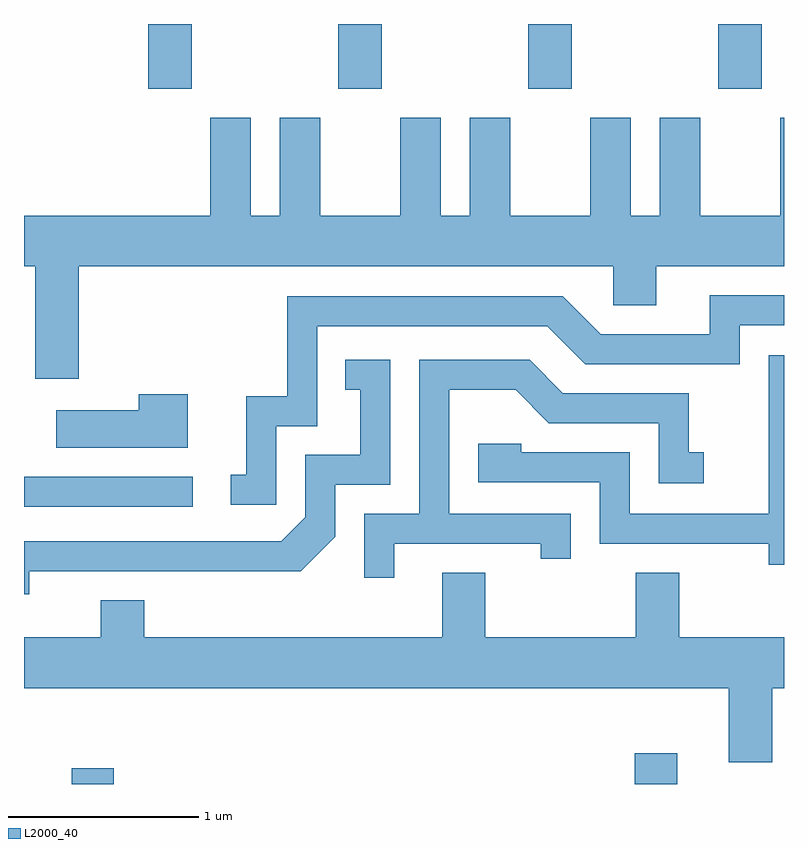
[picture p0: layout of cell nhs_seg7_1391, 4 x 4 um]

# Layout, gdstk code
import gdstk
lib = gdstk.Library(unit=1e-6, precision=1e-09)
def R(c, l, rs):  # rectangles x0, y0, x1, y1
    for r in rs: c.add(gdstk.rectangle(r[:2], r[2:], *l))
def A(c, l, x, y, w, h, nx, ny, dx, dy):  # array of equal rectangles
    R(c, l, [(x+i*dx, y+j*dy, x+i*dx+w, y+j*dy+h) for i in range(nx) for j in range(ny)])
def P(c, l, *ps):  # polygons
    for p in ps: c.add(gdstk.Polygon(p, *l))
L2000_40 = (2000, 40)

nhs_seg7_1391 = lib.new_cell('nhs_seg7_1391')
A(nhs_seg7_1391, L2000_40, 228.266, 1721.911, 0.228, 0.341, 4, 1, 1, 0)
R(nhs_seg7_1391, L2000_40, [(227.861,1718.252,228.084,1718.334), (230.826,1718.252,231.049,1718.414), (227.611,1719.711,228.498,1719.869)])
P(nhs_seg7_1391, L2000_40, [(230.711,1720.771),(230.939,1720.771),(230.939,1720.976),(231.611,1720.976),(231.611,1721.759),(231.591,1721.759),(231.591,1721.244),(231.169,1721.244),(231.169,1721.759),(230.956,1721.759),(230.956,1721.244),(230.804,1721.244),(230.804,1721.759),(230.591,1721.759),(230.591,1721.244),(230.169,1721.244),(230.169,1721.759),(229.956,1721.759),(229.956,1721.244),(229.804,1721.244),(229.804,1721.759),(229.591,1721.759),(229.591,1721.244),(229.169,1721.244),(229.169,1721.759),(228.956,1721.759),(228.956,1721.244),(228.804,1721.244),(228.804,1721.759),(228.591,1721.759),(228.591,1721.244),(227.611,1721.244),(227.611,1720.976),(227.671,1720.976),(227.671,1720.386),(227.899,1720.386),(227.899,1720.976),(230.711,1720.976)],
  [(228.939,1720.136),(229.154,1720.136),(229.154,1720.661),(230.364,1720.661),(230.564,1720.461),(231.379,1720.461),(231.379,1720.666),(231.611,1720.666),(231.611,1720.824),(231.221,1720.824),(231.221,1720.619),(230.647,1720.619),(230.447,1720.819),(228.996,1720.819),(228.996,1720.294),(228.781,1720.294),(228.781,1719.879),(228.698,1719.879),(228.698,1719.721),(228.939,1719.721)],
  [(231.611,1720.509),(231.531,1720.509),(231.531,1719.674),(230.799,1719.674),(230.799,1719.999),(230.229,1719.999),(230.229,1720.044),(230.001,1720.044),(230.001,1719.841),(230.641,1719.841),(230.641,1719.516),(231.531,1719.516),(231.531,1719.406),(231.611,1719.406)],
  [(229.559,1719.516),(230.331,1719.516),(230.331,1719.438),(230.489,1719.438),(230.489,1719.674),(229.849,1719.674),(229.849,1720.326),(230.199,1720.326),(230.374,1720.151),(230.951,1720.151),(230.951,1719.836),(231.188,1719.836),(231.188,1719.999),(231.109,1719.999),(231.109,1720.309),(230.447,1720.309),(230.272,1720.484),(229.691,1720.484),(229.691,1719.674),(229.401,1719.674),(229.401,1719.338),(229.559,1719.338)],
  [(227.639,1719.371),(229.067,1719.371),(229.249,1719.554),(229.249,1719.826),(229.539,1719.826),(229.539,1720.484),(229.303,1720.484),(229.303,1720.326),(229.381,1720.326),(229.381,1719.984),(229.091,1719.984),(229.091,1719.657),(228.964,1719.529),(227.611,1719.529),(227.611,1719.251),(227.639,1719.251)],
  [(228.474,1720.304),(228.216,1720.304),(228.216,1720.219),(227.781,1720.219),(227.781,1720.021),(228.474,1720.021)],
  [(231.549,1718.756),(231.611,1718.756),(231.611,1719.024),(231.059,1719.024),(231.059,1719.364),(230.831,1719.364),(230.831,1719.024),(230.039,1719.024),(230.039,1719.364),(229.811,1719.364),(229.811,1719.024),(228.244,1719.024),(228.244,1719.219),(228.016,1719.219),(228.016,1719.024),(227.611,1719.024),(227.611,1718.756),(231.321,1718.756),(231.321,1718.366),(231.549,1718.366)])

lib.write_gds('nhs_seg7_1391.gds')
